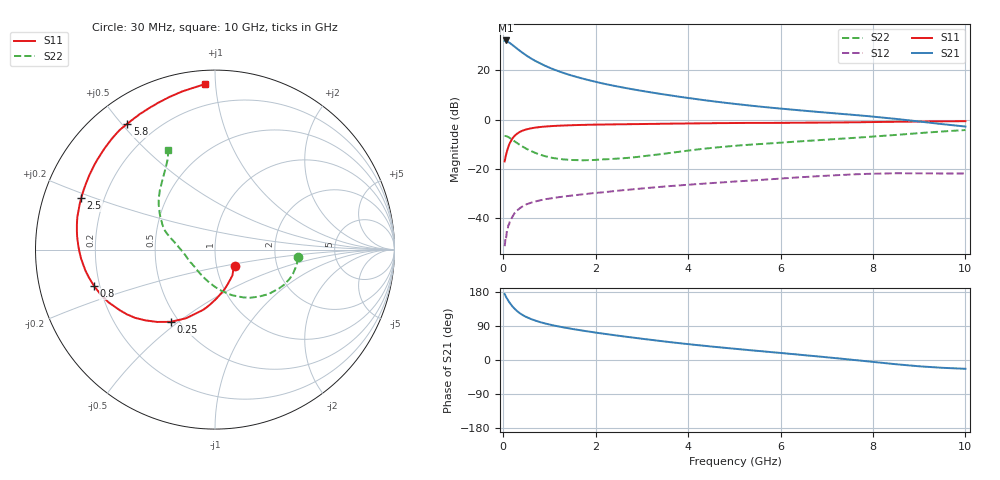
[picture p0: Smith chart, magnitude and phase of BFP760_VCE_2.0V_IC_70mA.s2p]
! Infineon Technologies  Discrete & RF Semiconductors
! BFP760
! VCE =  2.0 V,  IC =  70 mA
! Common Emitter S-Parameters:  Nov 2012
# GHz  S  MA  R  50
!  f  S11  S21  S12  S22
! GHz  MAG  ANG  MAG  ANG  MAG  ANG  MAG  ANG
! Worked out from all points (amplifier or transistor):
!   99 points, 30 MHz to 10 GHz, reference 50 ohm
!   highest |S21| = 32.1 dB at 50 MHz (marker M1)
!   |S21| within 3 dB of that: start of sweep to 278.5 MHz
!   unconditionally stable (mu >= 1): start of sweep to 212.2 MHz; 1.536 GHz to end of sweep
!   at 350 MHz: K = 0.83, MSG = 32.1 dB, |S12| = -36.1 dB
!   at 3.5 GHz: K = 1.28, MAG = 15.4 dB, |S12| = -27.2 dB
!   at 10 GHz: K = 1.25, MAG = 6.5 dB, |S12| = -21.9 dB
!   S11 on the Smith chart (normalised r, x): 30 MHz: 1.22, -0.23; 250 MHz: 0.45, -0.47; 800 MHz: 0.18, -0.14; 2.5 GHz: 0.12, +0.18; 5.8 GHz: 0.10, +0.52; 10 GHz: 0.07, +0.94
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0.03  0.1417 -39.9  39.62 174.3  0.0027 51.6  0.4632 -5.3
0.05  0.1735 -56.0  40.07 169.5  0.004 62.7  0.4626 -10.1
0.07  0.2073 -70.5  39.12 164.7  0.0045 63.1  0.4571 -14.8
0.1  0.2589 -85.2  37.76 158.5  0.0062 59.9  0.4461 -21.6
0.15  0.3431 -101.3  35.23 149.3  0.0088 60.8  0.417 -31.3
0.2  0.4141 -112.7  32.36 141.3  0.0107 56.9  0.3876 -39.8
0.25  0.4713 -121.4  29.79 134.8  0.0128 53.6  0.3581 -47.0
0.3  0.5158 -128.6  27.34 129.1  0.0143 51.8  0.3333 -53.5
0.35  0.553 -134.5  25.16 124.3  0.0156 51.1  0.3097 -59.3
0.4  0.5847 -139.4  23.12 120.2  0.0169 48.7  0.2886 -64.3
0.5  0.6288 -147.5  19.88 113.5  0.019 46.1  0.2553 -73.7
0.6  0.6629 -153.8  17.33 108.2  0.0205 43.8  0.2302 -81.8
0.8  0.7045 -163.4  13.76 99.9  0.023 41.1  0.1935 -96.1
1.2  0.7484 -176.4  9.516 88.5  0.0266 38.7  0.1595 -119.3
1.7  0.7765 172.3  6.829 77.9  0.0303 38.7  0.1487 -140.4
2.5  0.7992 158.9  4.626 64.0  0.0361 39.6  0.1616 -163.2
3.4  0.8184 146.3  3.308 50.2  0.043 39.8  0.1982 177.5
5.1  0.8499 129.6  2.031 28.6  0.0559 37.3  0.2973 159.4
5.8  0.8541 124.9  1.733 20.8  0.0616 35.7  0.3293 153.6
6.7  0.8641 118.6  1.456 10.7  0.0699 32.1  0.3747 145.7
8.5  0.8994 101.9  1.028 -11.2  0.0812 20.0  0.487 126.9
10  0.9252 93.4  0.72 -23.2  0.0804 13.9  0.6114 115.3
